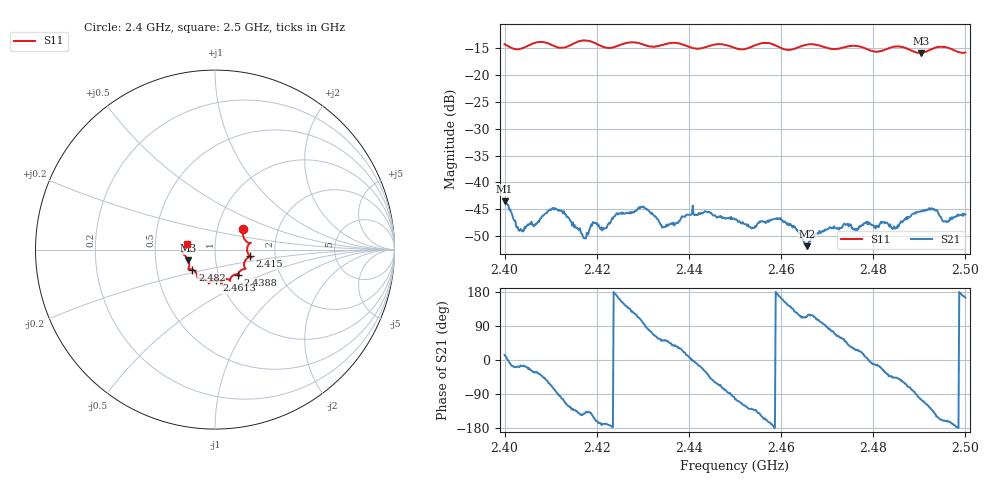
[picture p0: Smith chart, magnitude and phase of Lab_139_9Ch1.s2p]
# Hz S RI R 50
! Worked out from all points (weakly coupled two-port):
!   601 points, 2.4 GHz to 2.5 GHz, reference 50 ohm
!   highest |S21| = -43.53 dB at 2.4 GHz (marker M1); lowest = -51.9 dB at 2.4657 GHz (marker M2)
!   lowest |S11| = -15.9 dB at 2.4903 GHz (marker M3), VSWR 1.38, Z = 36.8 - j4.43 ohm
!   |S11| at or under -10 dB: start of sweep to end of sweep
!   S12 and S22 are empty: the file has one direction only
!   S11 on the Smith chart (normalised r, x): 2.4 GHz: 1.33, +0.31; 2.415 GHz: 1.47, -0.11; 2.4388 GHz: 1.24, -0.36; 2.4613 GHz: 0.96, -0.34; 2.482 GHz: 0.76, -0.17; 2.5 GHz: 0.72, +0.05
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2.4e9  0.1571 0.1126  0.00648 0.00154  0 0  0 0
2.4035e9  0.1663 0.0555  0.00357 -0.000893  0 0  0 0
2.410667e9  0.1851 0.0245  0.00144 -0.00561  0 0  0 0
2.415e9  0.1928 -0.0362  -0.00258 -0.00287  0 0  0 0
2.416667e9  0.2039 -0.0441  -0.00269 -0.00197  0 0  0 0
2.429667e9  0.1626 -0.1081  -0.00142 0.0057  0 0  0 0
2.433333e9  0.1317 -0.1316  0.00252 0.00373  0 0  0 0
2.434667e9  0.13 -0.1423  0.00241 0.00299  0 0  0 0
2.438833e9  0.1295 -0.1404  0.00448 0.00169  0 0  0 0
2.45e9  0.0687 -0.1647  -0.00106 -0.00438  0 0  0 0
2.453667e9  0.0357 -0.1801  -0.00233 -0.0029  0 0  0 0
2.459e9  0.0337 -0.1837  -0.00463 0.000186  0 0  0 0
2.461333e9  0.00786 -0.1713  -0.00335 0.00224  0 0  0 0
2.465667e9  -0.0347 -0.1887  -0.00115 0.00227  0 0  0 0
2.466667e9  -0.0349 -0.1903  -0.00142 0.00269  0 0  0 0
2.474e9  -0.0873 -0.1603  0.00265 0.00304  0 0  0 0
2.482e9  -0.1261 -0.1118  0.00388 -0.0018  0 0  0 0
2.483333e9  -0.1398 -0.1089  0.00297 -0.00274  0 0  0 0
2.490333e9  -0.1494 -0.0586  -0.00128 -0.00525  0 0  0 0
2.493333e9  -0.1772 -0.0246  -0.00435 -0.00349  0 0  0 0
2.495667e9  -0.1808 -0.018  -0.00413 -0.00142  0 0  0 0
2.5e9  -0.1586 0.0326  -0.00483 0.00133  0 0  0 0
